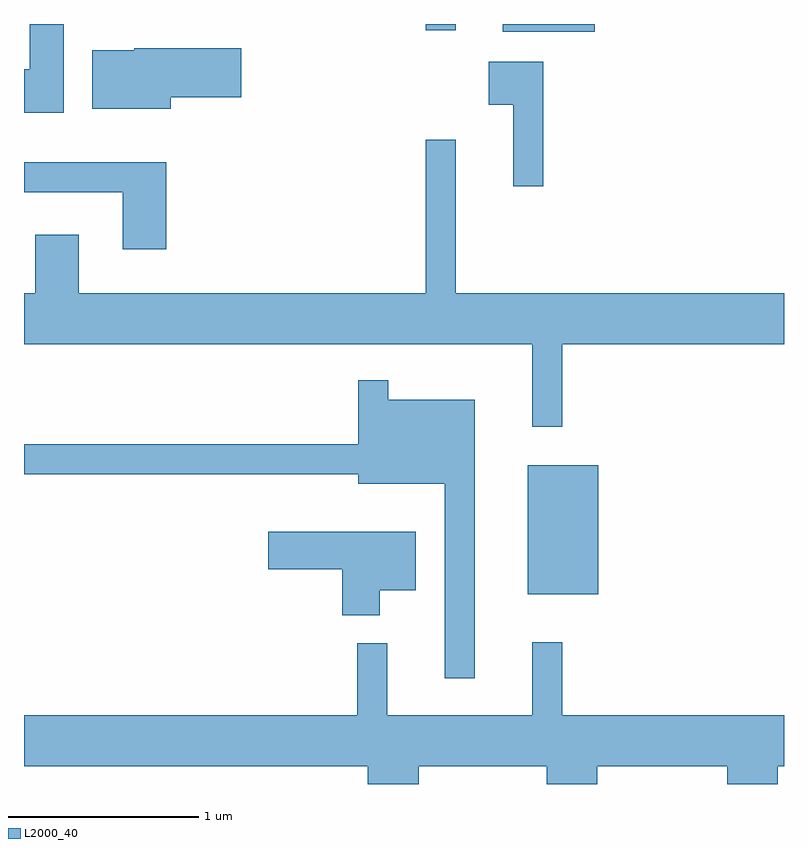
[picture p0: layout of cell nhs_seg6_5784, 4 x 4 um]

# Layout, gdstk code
import gdstk
lib = gdstk.Library(unit=1e-6, precision=1e-09)
def R(c, l, rs):  # rectangles x0, y0, x1, y1
    for r in rs: c.add(gdstk.rectangle(r[:2], r[2:], *l))
def P(c, l, *ps):  # polygons
    for p in ps: c.add(gdstk.Polygon(p, *l))
L2000_40 = (2000, 40)

nhs_seg6_5784 = lib.new_cell('nhs_seg6_5784')
R(nhs_seg6_5784, L2000_40, [(364.261,1553.161,364.634,1553.839), (364.131,1556.121,364.614,1556.162), (363.726,1556.128,363.884,1556.162)])
P(nhs_seg6_5784, L2000_40, [(361.819,1556.162),(361.641,1556.162),(361.641,1555.924),(361.611,1555.924),(361.611,1555.696),(361.819,1555.696)],
  [(362.384,1555.776),(362.754,1555.776),(362.754,1556.034),(362.19,1556.034),(362.19,1556.024),(361.971,1556.024),(361.971,1555.716),(362.384,1555.716)],
  [(364.344,1555.964),(364.056,1555.964),(364.056,1555.736),(364.186,1555.736),(364.186,1555.308),(364.344,1555.308)],
  [(364.444,1554.476),(365.611,1554.476),(365.611,1554.744),(363.884,1554.744),(363.884,1555.553),(363.726,1555.553),(363.726,1554.744),(361.899,1554.744),(361.899,1555.054),(361.671,1555.054),(361.671,1554.744),(361.611,1554.744),(361.611,1554.476),(364.286,1554.476),(364.286,1554.043),(364.444,1554.043)],
  [(362.359,1555.434),(361.611,1555.434),(361.611,1555.276),(362.131,1555.276),(362.131,1554.976),(362.359,1554.976)],
  [(363.984,1554.184),(363.529,1554.184),(363.529,1554.288),(363.371,1554.288),(363.371,1553.949),(361.611,1553.949),(361.611,1553.791),(363.371,1553.791),(363.371,1553.741),(363.826,1553.741),(363.826,1552.718),(363.984,1552.718)],
  [(363.484,1553.181),(363.674,1553.181),(363.674,1553.489),(362.896,1553.489),(362.896,1553.291),(363.286,1553.291),(363.286,1553.051),(363.484,1553.051)],
  [(363.689,1552.256),(364.361,1552.256),(364.361,1552.162),(364.629,1552.162),(364.629,1552.256),(365.311,1552.256),(365.311,1552.162),(365.579,1552.162),(365.579,1552.256),(365.611,1552.256),(365.611,1552.524),(364.444,1552.524),(364.444,1552.908),(364.286,1552.908),(364.286,1552.524),(363.524,1552.524),(363.524,1552.903),(363.366,1552.903),(363.366,1552.524),(361.611,1552.524),(361.611,1552.256),(363.421,1552.256),(363.421,1552.162),(363.689,1552.162)])

lib.write_gds('nhs_seg6_5784.gds')
